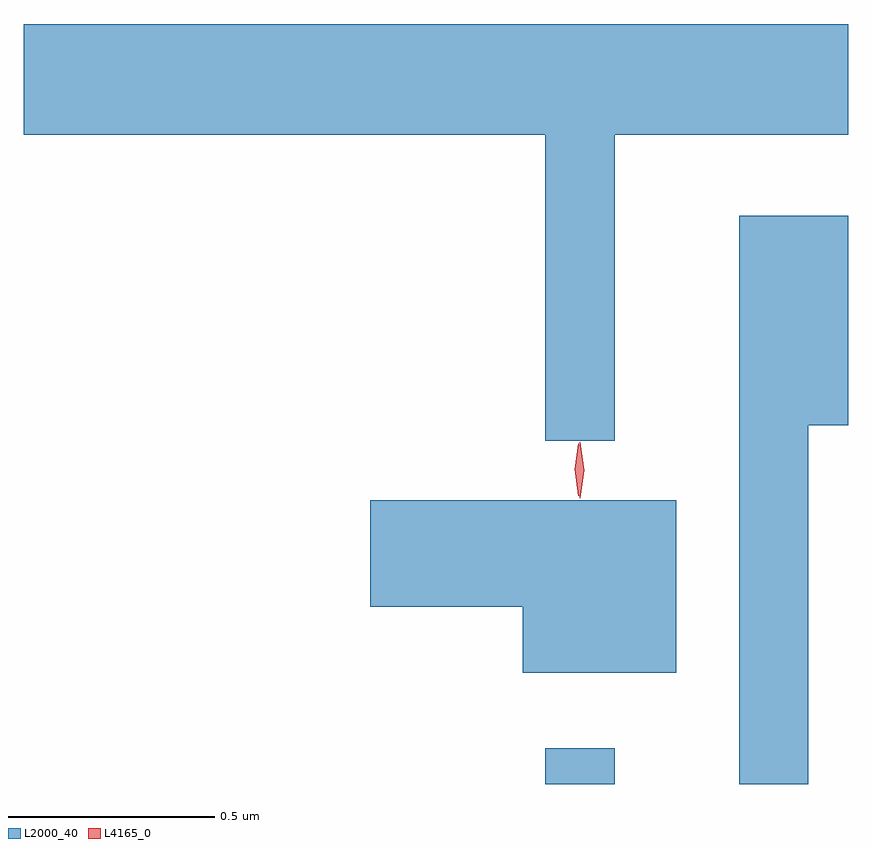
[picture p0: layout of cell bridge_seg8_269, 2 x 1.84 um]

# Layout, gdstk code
import gdstk
lib = gdstk.Library(unit=1e-6, precision=1e-09)
def R(c, l, rs):  # rectangles x0, y0, x1, y1
    for r in rs: c.add(gdstk.rectangle(r[:2], r[2:], *l))
def P(c, l, *ps):  # polygons
    for p in ps: c.add(gdstk.Polygon(p, *l))
L2000_40 = (2000, 40)
L4165_0 = (4165, 0)

bridge_seg8_269 = lib.new_cell('bridge_seg8_269')
R(bridge_seg8_269, L2000_40, [(1089.291,1832.621,1089.459,1832.708)])
P(bridge_seg8_269, L2000_40, [(1089.459,1834.196),(1090.026,1834.196),(1090.026,1834.464),(1088.026,1834.464),(1088.026,1834.196),(1089.291,1834.196),(1089.291,1833.453),(1089.459,1833.453)],
  [(1089.929,1833.491),(1090.026,1833.491),(1090.026,1833.999),(1089.761,1833.999),(1089.761,1832.621),(1089.929,1832.621)],
  [(1089.609,1833.309),(1088.866,1833.309),(1088.866,1833.051),(1089.236,1833.051),(1089.236,1832.891),(1089.609,1832.891)])
P(bridge_seg8_269, L4165_0, [(1089.375,1833.314),(1089.366,1833.382),(1089.374,1833.45),(1089.375,1833.45),(1089.376,1833.45),(1089.385,1833.382),(1089.376,1833.314),(1089.376,1833.314)],
  [(1089.371,1833.32),(1089.362,1833.384),(1089.371,1833.446),(1089.372,1833.447),(1089.372,1833.446),(1089.382,1833.384),(1089.372,1833.32),(1089.372,1833.32)])

lib.write_gds('bridge_seg8_269.gds')
